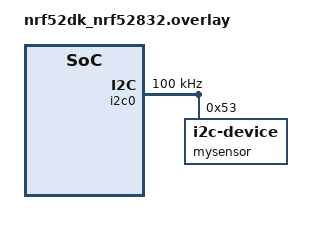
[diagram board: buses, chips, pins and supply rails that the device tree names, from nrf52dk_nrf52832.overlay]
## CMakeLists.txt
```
cmake_minimum_required(VERSION 3.20.0)
find_package(Zephyr REQUIRED HINTS $ENV{ZEPHYR_BASE})

project(UV_LTR390)

target_sources(app PRIVATE src/main.c)
target_sources(app PRIVATE src/ui.c)
```

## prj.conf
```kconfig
# --- Core Console & System ---
CONFIG_PRINTK=y
CONFIG_STDOUT_CONSOLE=y
CONFIG_REBOOT=y

# --- UI Module (UART) ---
CONFIG_SERIAL=y
CONFIG_UART_ASYNC_API=y

# --- Hardware ---
CONFIG_I2C=y
```

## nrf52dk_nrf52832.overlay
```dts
&i2c0 {
    compatible = "nordic,nrf-twim";
    status = "okay";
    clock-frequency = <I2C_BITRATE_STANDARD>;
    
    /* CRITICAL PIN LINKS: This tells the board to actually use pins 26 and 25! */
    pinctrl-0 = <&i2c0_default>;
    pinctrl-1 = <&i2c0_sleep>;
    pinctrl-names = "default", "sleep";

    mysensor: mysensor@53 {
        compatible = "i2c-device";
        status = "okay";
        reg = <0x53>;
    };
};
```

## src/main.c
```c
#include <zephyr/kernel.h>        // Zephyr kernel APIs (sleep, timing, threads)
#include <zephyr/device.h>        // Zephyr device driver model
#include <zephyr/drivers/i2c.h>   // I2C driver APIs
#include <zephyr/sys/printk.h>    // Kernel logging using printk()
#include "ui.h"                   // Custom UART-based UI interface

/* Define LTR390 I2C address and register addresses */
#define LTR390_I2C_ADDR 0x53        // I2C slave address of the LTR390 UV sensor
#define LTR390_MAIN_CTRL 0x00       // Main control register
#define LTR390_MEAS_RATE 0x04       // Measurement rate and resolution register
#define LTR390_GAIN 0x05            // Gain control register
#define LTR390_UVS_DATA_0 0x10      // UV data register (LSB)
#define LTR390_UVS_DATA_1 0x11      // UV data register (middle byte)
#define LTR390_UVS_DATA_2 0x12      // UV data register (MSB)
#define LTR390_MAIN_STATUS 0x07     // Status register (data-ready flag)

/* Define measurement settings */
#define UVS_MODE 0x0A  // Set UVS mode (UVS active)
#define RESOLUTION_18BIT_TIME100MS 0x20
#define GAIN_3X 0x01

/* Get the node identifier of the sensor */
#define I2C0_NODE DT_NODELABEL(mysensor)

int main(void)
{
    if (ui_init() != 0) return -1;  // Initialize UART-based user interface
    int ret;                        // Variable to store return status of I2C operations

    /* Retrieve the API-specific device structure */
    static const struct i2c_dt_spec dev_i2c = I2C_DT_SPEC_GET(I2C0_NODE);
    if (!device_is_ready(dev_i2c.bus))
    {
        printk("I2C bus %s is not ready!\n", dev_i2c.bus->name);
        return -1;
    }

    /* Set UVS mode in MAIN_CTRL register */
    uint8_t config_main[2] = {LTR390_MAIN_CTRL, UVS_MODE};
    ret = i2c_write_dt(&dev_i2c, config_main, sizeof(config_main));
    if (ret != 0)
    {
        printk("Failed to write to MAIN_CTRL register\n");
        return -1;
    }

    /* Configure measurement rate and resolution */
    uint8_t config_meas[2] = {LTR390_MEAS_RATE, RESOLUTION_18BIT_TIME100MS};
    ret = i2c_write_dt(&dev_i2c, config_meas, sizeof(config_meas));
    if (ret != 0)
    {
        printk("Failed to write to MEAS_RATE register\n");
        return -1;
    }

    /* Configure gain */
    uint8_t config_gain[2] = {LTR390_GAIN, GAIN_3X};
    ret = i2c_write_dt(&dev_i2c, config_gain, sizeof(config_gain));
    if (ret != 0)
    {
        printk("Failed to write to GAIN register\n");
        return -1;
    }
    
    while (1)
    {
        /* Check status if data is ready */
        uint8_t status = 0;
        ret = i2c_reg_read_byte_dt(&dev_i2c, LTR390_MAIN_STATUS, &status);
        if (ret != 0 || !(status & 0x08))       // Check data-ready bit
        {
            printk("Data not ready, waiting...\n");
            k_msleep(100);                      // Wait a flat 100ms before retrying, ensuring rapid recovery
            continue;
        }

        /* Read UVS data (3 bytes) */
        uint8_t uv_reading[3] = {0};
        ret = i2c_burst_read_dt(&dev_i2c, LTR390_UVS_DATA_0, uv_reading, 3);
        if (ret != 0)
        {
            printk("Failed to read UVS data\n");
            return -1;
        }

        /* Combine the three bytes into a single UV index value */
        int uv_index = (uv_reading[2] << 16) | (uv_reading[1] << 8) | uv_reading[0];

        /* Print the UV index value */
        printk("UV Index: %d\n", uv_index);

        // Get the updated delay interval from the UI
        int target_ms = ui_get_interval_ms();
        int elapsed_ms = 0;

        // Check for updates every 100ms while waiting for next reading
        while (elapsed_ms < target_ms) {
            if (ui_interval_changed()) {
                ui_clear_change_flag();
                break; // Restart loop with new interval immediately
            }
            k_msleep(100);
            elapsed_ms += 100;
        }
    }
    
    return 0;
}
```
